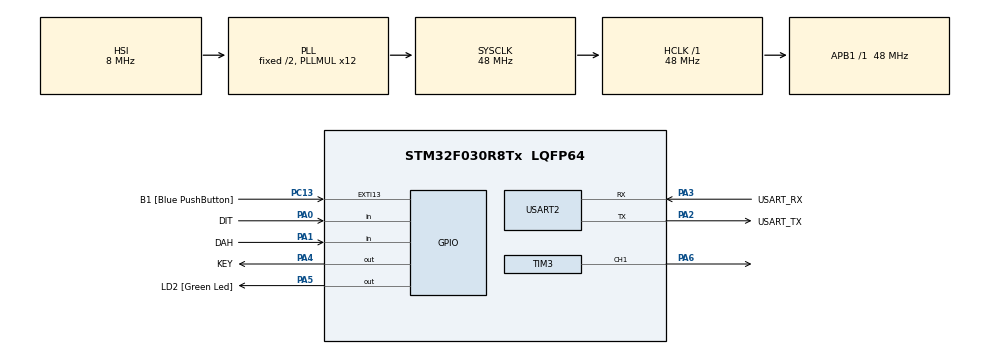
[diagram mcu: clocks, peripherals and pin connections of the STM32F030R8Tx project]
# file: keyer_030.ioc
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Mcu.Family=STM32F0
Mcu.Name=STM32F030R8Tx
Mcu.Package=LQFP64
PA0.GPIO_Label=DIT
PA0.GPIO_PuPd=GPIO_PULLUP
PA0.Signal=GPIO_Input
PA1.GPIO_Label=DAH
PA1.GPIO_PuPd=GPIO_PULLUP
PA1.Signal=GPIO_Input
PA13.GPIO_Label=TMS
PA13.Mode=Serial_Wire
PA13.Signal=SYS_SWDIO
PA14.GPIO_Label=TCK
PA14.Mode=Serial_Wire
PA14.Signal=SYS_SWCLK
PA2.GPIO_Label=USART_TX
PA2.GPIO_Mode=GPIO_MODE_AF_PP
PA2.GPIO_PuPd=GPIO_NOPULL
PA2.GPIO_Speed=GPIO_SPEED_FREQ_LOW
PA2.Mode=Asynchronous
PA2.Signal=USART2_TX
PA3.GPIO_Label=USART_RX
PA3.GPIO_Mode=GPIO_MODE_AF_PP
PA3.GPIO_PuPd=GPIO_NOPULL
PA3.GPIO_Speed=GPIO_SPEED_FREQ_LOW
PA3.Mode=Asynchronous
PA3.Signal=USART2_RX
PA4.GPIO_Label=KEY
PA4.Signal=GPIO_Output
PA5.GPIO_Label=LD2 [Green Led]
PA5.GPIO_Mode=GPIO_MODE_OUTPUT_PP
PA5.GPIO_PuPd=GPIO_NOPULL
PA5.GPIO_Speed=GPIO_SPEED_FREQ_LOW
PA5.Signal=GPIO_Output
PA6.Signal=S_TIM3_CH1
PC13.GPIO_Label=B1 [Blue PushButton]
PC13.GPIO_ModeDefaultEXTI=GPIO_MODE_IT_FALLING
PC13.Signal=GPXTI13
PC14-OSC32_IN.Mode=LSE-External-Oscillator
PC14-OSC32_IN.Signal=RCC_OSC32_IN
PC15-OSC32_OUT.Mode=LSE-External-Oscillator
PC15-OSC32_OUT.Signal=RCC_OSC32_OUT
PF0-OSC_IN.Mode=HSE-External-Clock-Source
PF0-OSC_IN.Signal=RCC_OSC_IN
PF1-OSC_OUT.Signal=RCC_OSC_OUT
ProjectManager.HeapSize=0x200
ProjectManager.StackSize=0x400
ProjectManager.TargetToolchain=STM32CubeIDE
RCC.AHBFreq_Value=48000000
RCC.APB1Freq_Value=48000000
RCC.APB1TimFreq_Value=48000000
RCC.HCLKFreq_Value=48000000
RCC.PLLMUL=RCC_PLL_MUL12
RCC.SYSCLKFreq_VALUE=48000000
RCC.SYSCLKSource=RCC_SYSCLKSOURCE_PLLCLK
SH.S_TIM3_CH1.0=TIM3_CH1,PWM Generation1 CH1
TIM3.Channel-PWM\ Generation1\ CH1=TIM_CHANNEL_1
TIM3.Prescaler=47
USART2.VirtualMode-Asynchronous=VM_ASYNC
board=NUCLEO-F030R8

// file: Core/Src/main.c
/* USER CODE BEGIN Header */
/**
  ******************************************************************************
  * @file           : main.c
  * @brief          : Main program body
  ******************************************************************************
  * @attention
  *
  * Copyright (c) 2026 STMicroelectronics.
  * All rights reserved.
  *
  * This software is licensed under terms that can be found in the LICENSE file
  * in the root directory of this software component.
  * If no LICENSE file comes with this software, it is provided AS-IS.
  *
  ******************************************************************************
  */

/* USER CODE END Header */
#include "main.h"
#include "tim.h"
#include "usart.h"
#include "gpio.h"

void SystemClock_Config(void);

/* USER CODE BEGIN 0 */
#define WPM 18
#define IAMBIC_MODE_B 1

/* Morse timing */
static uint16_t dit_ticks;

/* state */
volatile uint8_t key_down = 0;
volatile uint16_t timer = 0;
volatile uint8_t element = 0;

enum {
    IDLE,
    DIT,
    DAH,
    SPACE
};

/* ---------------- LOW LEVEL ---------------- */

static inline void key_on(void)
{
    HAL_GPIO_WritePin(KEY_GPIO_Port, KEY_Pin, GPIO_PIN_SET);
    __HAL_TIM_SET_COMPARE(&htim3, TIM_CHANNEL_1, 500); // enable tone
}

static inline void key_off(void)
{
    HAL_GPIO_WritePin(KEY_GPIO_Port, KEY_Pin, GPIO_PIN_RESET);
    __HAL_TIM_SET_COMPARE(&htim3, TIM_CHANNEL_1, 0); // silence
}

/* ---------------- 1ms TICK ---------------- */

void HAL_SYSTICK_Callback(void)
{
    uint8_t dit = !HAL_GPIO_ReadPin(GPIOA, DIT_Pin);
    uint8_t dah = !HAL_GPIO_ReadPin(GPIOA, DAH_Pin);

    if (timer)
    {
        timer--;
        if (timer == 0)
            key_off();
        return;
    }

    switch (element)
    {
    case IDLE:
        if (dit) {
            key_on();
            timer = dit_ticks;
            element = SPACE;
        }
        else if (dah) {
            key_on();
            timer = dit_ticks * 3;
            element = SPACE;
        }
        break;

    case SPACE:
        timer = dit_ticks;
        element = IDLE;
        break;
    }
}

/* USER CODE END 0 */

int main(void)
{

  /* MCU Configuration--------------------------------------------------------*/

  /* Reset of all peripherals, Initializes the Flash interface and the Systick. */
  HAL_Init();

  /* Configure the system clock */
  SystemClock_Config();

  /* Initialize all configured peripherals */

  MX_GPIO_Init();
  MX_USART2_UART_Init();
  MX_TIM3_Init();

  /* USER CODE BEGIN 2 */

  dit_ticks = 1200 / WPM;   // standard formula

  HAL_TIM_PWM_Start(&htim3, TIM_CHANNEL_1);

  /* USER CODE END 2 */

  /* Infinite loop */
  while (1)
  {

  }
}

void SystemClock_Config(void)
{
  RCC_OscInitTypeDef RCC_OscInitStruct = {0};
  RCC_ClkInitTypeDef RCC_ClkInitStruct = {0};

  /** Initializes the RCC Oscillators according to the specified parameters
  * in the RCC_OscInitTypeDef structure.
  */
  RCC_OscInitStruct.OscillatorType = RCC_OSCILLATORTYPE_HSI;
  RCC_OscInitStruct.HSIState = RCC_HSI_ON;
  RCC_OscInitStruct.HSICalibrationValue = RCC_HSICALIBRATION_DEFAULT;
  RCC_OscInitStruct.PLL.PLLState = RCC_PLL_ON;
  RCC_OscInitStruct.PLL.PLLSource = RCC_PLLSOURCE_HSI;
  RCC_OscInitStruct.PLL.PLLMUL = RCC_PLL_MUL12;
  RCC_OscInitStruct.PLL.PREDIV = RCC_PREDIV_DIV1;
  if (HAL_RCC_OscConfig(&RCC_OscInitStruct) != HAL_OK)
  {
    Error_Handler();
  }

  /** Initializes the CPU, AHB and APB buses clocks
  */
  RCC_ClkInitStruct.ClockType = RCC_CLOCKTYPE_HCLK|RCC_CLOCKTYPE_SYSCLK
                              |RCC_CLOCKTYPE_PCLK1;
  RCC_ClkInitStruct.SYSCLKSource = RCC_SYSCLKSOURCE_PLLCLK;
  RCC_ClkInitStruct.AHBCLKDivider = RCC_SYSCLK_DIV1;
  RCC_ClkInitStruct.APB1CLKDivider = RCC_HCLK_DIV1;

  if (HAL_RCC_ClockConfig(&RCC_ClkInitStruct, FLASH_LATENCY_1) != HAL_OK)
  {
    Error_Handler();
  }
}

void Error_Handler(void)
{
  __disable_irq();
  while (1)
  {
  }
}
